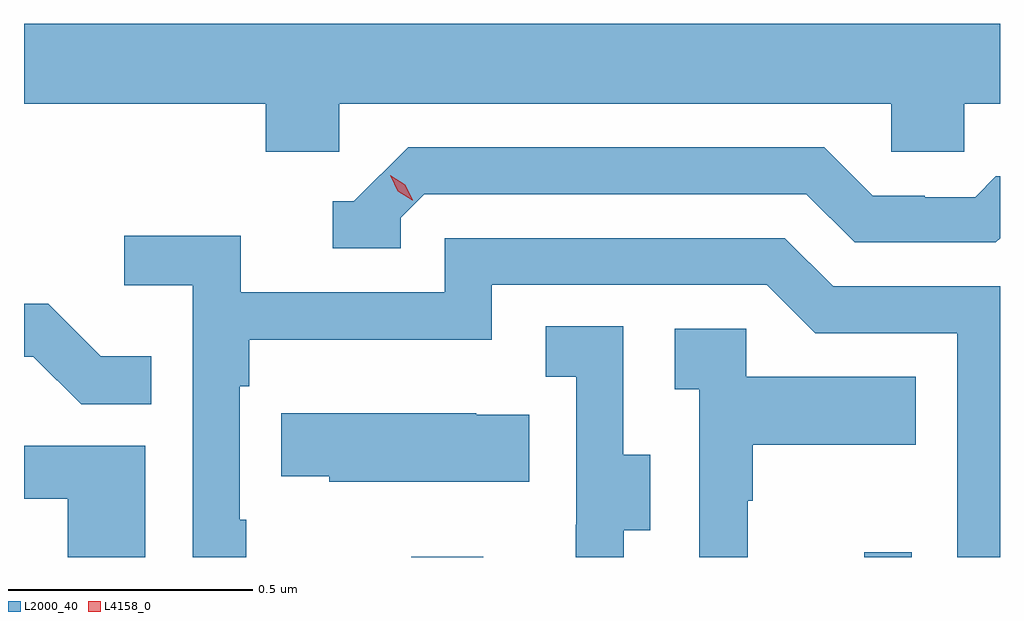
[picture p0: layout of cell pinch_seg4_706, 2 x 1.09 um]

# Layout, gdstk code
import gdstk
lib = gdstk.Library(unit=1e-6, precision=1e-09)
def R(c, l, rs):  # rectangles x0, y0, x1, y1
    for r in rs: c.add(gdstk.rectangle(r[:2], r[2:], *l))
def P(c, l, *ps):  # polygons
    for p in ps: c.add(gdstk.Polygon(p, *l))
L2000_40 = (2000, 40)
L4158_0 = (4158, 0)

pinch_seg4_706 = lib.new_cell('pinch_seg4_706')
R(pinch_seg4_706, L2000_40, [(1113.766,750.603,1113.913,750.604), (1114.694,750.603,1114.791,750.613)])
P(pinch_seg4_706, L2000_40, [(1113.618,751.532),(1114.749,751.532),(1114.749,751.434),(1114.899,751.434),(1114.899,751.532),(1114.972,751.532),(1114.972,751.696),(1112.972,751.696),(1112.972,751.532),(1113.467,751.532),(1113.467,751.434),(1113.618,751.434)],
  [(1113.744,751.299),(1113.792,751.347),(1114.575,751.347),(1114.674,751.248),(1114.963,751.248),(1114.972,751.257),(1114.972,751.384),(1114.963,751.384),(1114.921,751.341),(1114.818,751.341),(1114.818,751.344),(1114.711,751.344),(1114.612,751.443),(1113.759,751.443),(1113.648,751.332),(1113.605,751.332),(1113.605,751.236),(1113.744,751.236)],
  [(1113.427,750.68),(1113.414,750.68),(1113.414,750.953),(1113.434,750.953),(1113.434,751.049),(1113.93,751.049),(1113.93,751.161),(1114.494,751.161),(1114.593,751.062),(1114.884,751.062),(1114.884,750.603),(1114.972,750.603),(1114.972,751.158),(1114.63,751.158),(1114.531,751.257),(1113.834,751.257),(1113.834,751.146),(1113.416,751.146),(1113.416,751.262),(1113.177,751.262),(1113.177,751.16),(1113.318,751.16),(1113.318,750.603),(1113.427,750.603)],
  [(1113.233,751.015),(1113.129,751.015),(1113.022,751.122),(1112.972,751.122),(1112.972,751.014),(1112.991,751.014),(1113.089,750.916),(1113.233,750.916)],
  [(1114.201,750.658),(1114.255,750.658),(1114.255,750.813),(1114.2,750.813),(1114.2,751.076),(1114.041,751.076),(1114.041,750.973),(1114.104,750.973),(1114.104,750.669),(1114.103,750.669),(1114.103,750.603),(1114.201,750.603)],
  [(1114.455,750.719),(1114.465,750.719),(1114.465,750.833),(1114.799,750.833),(1114.799,750.973),(1114.452,750.973),(1114.452,751.071),(1114.305,751.071),(1114.305,750.947),(1114.356,750.947),(1114.356,750.603),(1114.455,750.603)],
  [(1114.007,750.895),(1113.899,750.895),(1113.899,750.898),(1113.499,750.898),(1113.499,750.769),(1113.597,750.769),(1113.597,750.758),(1114.007,750.758)],
  [(1113.22,750.831),(1112.972,750.831),(1112.972,750.723),(1113.062,750.723),(1113.062,750.603),(1113.22,750.603)])
P(pinch_seg4_706, L4158_0, [(1113.768,751.334),(1113.738,751.353),(1113.722,751.386),(1113.722,751.386),(1113.722,751.386),(1113.753,751.366),(1113.769,751.334),(1113.769,751.334)])

lib.write_gds('pinch_seg4_706.gds')
